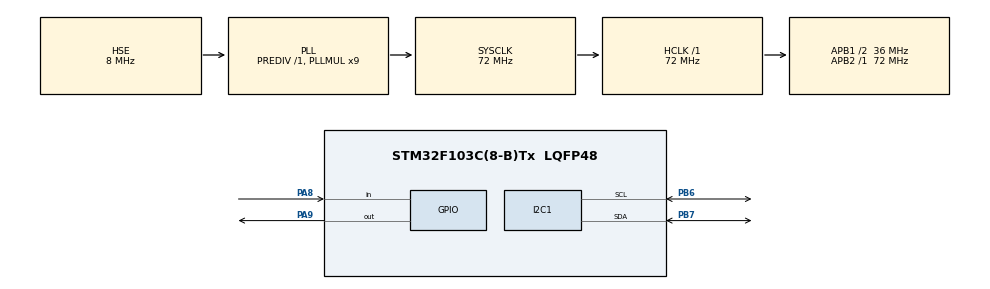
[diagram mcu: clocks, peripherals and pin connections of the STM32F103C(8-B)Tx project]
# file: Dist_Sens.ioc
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I2C1.I2C_Mode=I2C_Fast
Mcu.Family=STM32F1
Mcu.Name=STM32F103C(8-B)Tx
Mcu.Package=LQFP48
NVIC.PriorityGroup=NVIC_PRIORITYGROUP_4
PA13.Mode=Serial_Wire
PA13.Signal=SYS_JTMS-SWDIO
PA14.Mode=Serial_Wire
PA14.Signal=SYS_JTCK-SWCLK
PA8.Signal=GPIO_Input
PA9.Signal=GPIO_Output
PB6.Mode=I2C
PB6.Signal=I2C1_SCL
PB7.Mode=I2C
PB7.Signal=I2C1_SDA
PD0-OSC_IN.Mode=HSE-External-Oscillator
PD0-OSC_IN.Signal=RCC_OSC_IN
PD1-OSC_OUT.Mode=HSE-External-Oscillator
PD1-OSC_OUT.Signal=RCC_OSC_OUT
ProjectManager.HeapSize=0x200
ProjectManager.StackSize=0x400
ProjectManager.TargetToolchain=STM32CubeIDE
RCC.AHBFreq_Value=72000000
RCC.APB1CLKDivider=RCC_HCLK_DIV2
RCC.APB1Freq_Value=36000000
RCC.APB1TimFreq_Value=72000000
RCC.APB2Freq_Value=72000000
RCC.APB2TimFreq_Value=72000000
RCC.HCLKFreq_Value=72000000
RCC.PLLMUL=RCC_PLL_MUL9
RCC.PLLSourceVirtual=RCC_PLLSOURCE_HSE
RCC.SYSCLKFreq_VALUE=72000000
RCC.SYSCLKSource=RCC_SYSCLKSOURCE_PLLCLK
RCC.USBFreq_Value=72000000
TIM1.Prescaler=71
VP_TIM1_VS_ClockSourceINT.Mode=Internal
board=custom

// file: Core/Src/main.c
/* USER CODE BEGIN Header */
/**
  ******************************************************************************
  * @file           : main.c
  * @brief          : Main program body
  ******************************************************************************
  * @attention
  *
  * Copyright (c) 2025 STMicroelectronics.
  * All rights reserved.
  *
  * This software is licensed under terms that can be found in the LICENSE file
  * in the root directory of this software component.
  * If no LICENSE file comes with this software, it is provided AS-IS.
  *
  ******************************************************************************
  */
/* USER CODE END Header */
#include "main.h"

/* USER CODE BEGIN Includes */
#include "fonts.h"
#include "ssd1306.h"
#include "stdio.h"
/* USER CODE END Includes */

I2C_HandleTypeDef hi2c1;

TIM_HandleTypeDef htim1;

/* USER CODE BEGIN PV */
#define TRIG_PIN GPIO_PIN_9
#define TRIG_PORT GPIOA
#define ECHO_PIN GPIO_PIN_8
#define ECHO_PORT GPIOA
uint32_t pMillis;
uint32_t Value1 = 0;
uint32_t Value2 = 0;
uint16_t Distance  = 0;  // cm
char strCopy[15];
char strDistance[]="Distance: ";
/* USER CODE END PV */

void SystemClock_Config(void);
static void MX_GPIO_Init(void);
static void MX_I2C1_Init(void);
static void MX_TIM1_Init(void);

int main(void)
{

  /* MCU Configuration--------------------------------------------------------*/

  /* Reset of all peripherals, Initializes the Flash interface and the Systick. */
  HAL_Init();

  /* Configure the system clock */
  SystemClock_Config();

  /* Initialize all configured peripherals */
  MX_GPIO_Init();
  MX_I2C1_Init();
  MX_TIM1_Init();
  /* USER CODE BEGIN 2 */
  HAL_TIM_Base_Start(&htim1);
    HAL_GPIO_WritePin(TRIG_PORT, TRIG_PIN, GPIO_PIN_RESET);  // pull the TRIG pin low
    ssd1306_Init(&hi2c1);
  /* USER CODE END 2 */

  /* Infinite loop */
  /* USER CODE BEGIN WHILE */
  while (1)
  {
	  HAL_GPIO_WritePin(TRIG_PORT, TRIG_PIN, GPIO_PIN_SET);  // pull the TRIG pin HIGH
	    __HAL_TIM_SET_COUNTER(&htim1, 0);
	    while (__HAL_TIM_GET_COUNTER (&htim1) < 10);  // wait for 10 us
	    HAL_GPIO_WritePin(TRIG_PORT, TRIG_PIN, GPIO_PIN_RESET);  // pull the TRIG pin low

	    pMillis = HAL_GetTick(); // used this to avoid infinite while loop  (for timeout)
	    // wait for the echo pin to go high
	    while (!(HAL_GPIO_ReadPin (ECHO_PORT, ECHO_PIN)) && pMillis + 10 >  HAL_GetTick());
	    Value1 = __HAL_TIM_GET_COUNTER (&htim1);

	    pMillis = HAL_GetTick(); // used this to avoid infinite while loop (for timeout)
	    // wait for the echo pin to go low
	    while ((HAL_GPIO_ReadPin (ECHO_PORT, ECHO_PIN)) && pMillis + 50 > HAL_GetTick());
	    Value2 = __HAL_TIM_GET_COUNTER (&htim1);

	    Distance = (Value2-Value1)* 0.034/2;

	    ssd1306_SetCursor(0, 0);
	    ssd1306_WriteString (strDistance, Font_11x18, White);
	    sprintf(strCopy,"%d    ", Distance);
	    ssd1306_SetCursor (0, 30);
	    ssd1306_WriteString (strCopy, Font_11x18, White);
	    ssd1306_UpdateScreen(&hi2c1);
	    HAL_Delay(50);
    /* USER CODE END WHILE */

  }
}

void SystemClock_Config(void)
{
  RCC_OscInitTypeDef RCC_OscInitStruct = {0};
  RCC_ClkInitTypeDef RCC_ClkInitStruct = {0};

  /** Initializes the RCC Oscillators according to the specified parameters
  * in the RCC_OscInitTypeDef structure.
  */
  RCC_OscInitStruct.OscillatorType = RCC_OSCILLATORTYPE_HSE;
  RCC_OscInitStruct.HSEState = RCC_HSE_ON;
  RCC_OscInitStruct.HSEPredivValue = RCC_HSE_PREDIV_DIV1;
  RCC_OscInitStruct.HSIState = RCC_HSI_ON;
  RCC_OscInitStruct.PLL.PLLState = RCC_PLL_ON;
  RCC_OscInitStruct.PLL.PLLSource = RCC_PLLSOURCE_HSE;
  RCC_OscInitStruct.PLL.PLLMUL = RCC_PLL_MUL9;
  if (HAL_RCC_OscConfig(&RCC_OscInitStruct) != HAL_OK)
  {
    Error_Handler();
  }

  /** Initializes the CPU, AHB and APB buses clocks
  */
  RCC_ClkInitStruct.ClockType = RCC_CLOCKTYPE_HCLK|RCC_CLOCKTYPE_SYSCLK
                              |RCC_CLOCKTYPE_PCLK1|RCC_CLOCKTYPE_PCLK2;
  RCC_ClkInitStruct.SYSCLKSource = RCC_SYSCLKSOURCE_PLLCLK;
  RCC_ClkInitStruct.AHBCLKDivider = RCC_SYSCLK_DIV1;
  RCC_ClkInitStruct.APB1CLKDivider = RCC_HCLK_DIV2;
  RCC_ClkInitStruct.APB2CLKDivider = RCC_HCLK_DIV1;

  if (HAL_RCC_ClockConfig(&RCC_ClkInitStruct, FLASH_LATENCY_2) != HAL_OK)
  {
    Error_Handler();
  }
}

static void MX_I2C1_Init(void)
{

  hi2c1.Instance = I2C1;
  hi2c1.Init.ClockSpeed = 400000;
  hi2c1.Init.DutyCycle = I2C_DUTYCYCLE_2;
  hi2c1.Init.OwnAddress1 = 0;
  hi2c1.Init.AddressingMode = I2C_ADDRESSINGMODE_7BIT;
  hi2c1.Init.DualAddressMode = I2C_DUALADDRESS_DISABLE;
  hi2c1.Init.OwnAddress2 = 0;
  hi2c1.Init.GeneralCallMode = I2C_GENERALCALL_DISABLE;
  hi2c1.Init.NoStretchMode = I2C_NOSTRETCH_DISABLE;
  if (HAL_I2C_Init(&hi2c1) != HAL_OK)
  {
    Error_Handler();
  }

}

static void MX_TIM1_Init(void)
{

  TIM_ClockConfigTypeDef sClockSourceConfig = {0};
  TIM_MasterConfigTypeDef sMasterConfig = {0};

  htim1.Instance = TIM1;
  htim1.Init.Prescaler = 71;
  htim1.Init.CounterMode = TIM_COUNTERMODE_UP;
  htim1.Init.Period = 65535;
  htim1.Init.ClockDivision = TIM_CLOCKDIVISION_DIV1;
  htim1.Init.RepetitionCounter = 0;
  htim1.Init.AutoReloadPreload = TIM_AUTORELOAD_PRELOAD_DISABLE;
  if (HAL_TIM_Base_Init(&htim1) != HAL_OK)
  {
    Error_Handler();
  }
  sClockSourceConfig.ClockSource = TIM_CLOCKSOURCE_INTERNAL;
  if (HAL_TIM_ConfigClockSource(&htim1, &sClockSourceConfig) != HAL_OK)
  {
    Error_Handler();
  }
  sMasterConfig.MasterOutputTrigger = TIM_TRGO_RESET;
  sMasterConfig.MasterSlaveMode = TIM_MASTERSLAVEMODE_DISABLE;
  if (HAL_TIMEx_MasterConfigSynchronization(&htim1, &sMasterConfig) != HAL_OK)
  {
    Error_Handler();
  }

}

static void MX_GPIO_Init(void)
{
  GPIO_InitTypeDef GPIO_InitStruct = {0};

  /* GPIO Ports Clock Enable */
  __HAL_RCC_GPIOD_CLK_ENABLE();
  __HAL_RCC_GPIOA_CLK_ENABLE();
  __HAL_RCC_GPIOB_CLK_ENABLE();

  /*Configure GPIO pin Output Level */
  HAL_GPIO_WritePin(GPIOA, GPIO_PIN_9, GPIO_PIN_RESET);

  /*Configure GPIO pin : PA8 */
  GPIO_InitStruct.Pin = GPIO_PIN_8;
  GPIO_InitStruct.Mode = GPIO_MODE_INPUT;
  GPIO_InitStruct.Pull = GPIO_NOPULL;
  HAL_GPIO_Init(GPIOA, &GPIO_InitStruct);

  /*Configure GPIO pin : PA9 */
  GPIO_InitStruct.Pin = GPIO_PIN_9;
  GPIO_InitStruct.Mode = GPIO_MODE_OUTPUT_PP;
  GPIO_InitStruct.Pull = GPIO_NOPULL;
  GPIO_InitStruct.Speed = GPIO_SPEED_FREQ_LOW;
  HAL_GPIO_Init(GPIOA, &GPIO_InitStruct);

}

void Error_Handler(void)
{
  __disable_irq();
  while (1)
  {
  }
}
